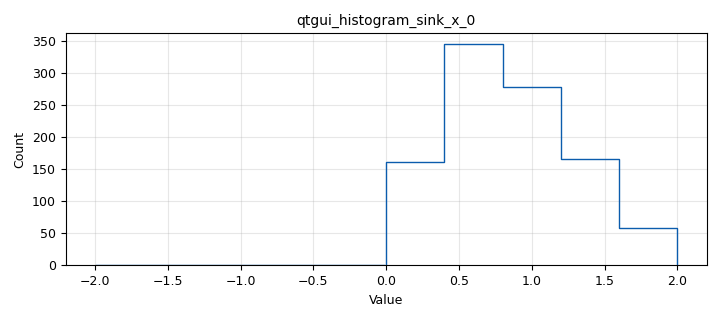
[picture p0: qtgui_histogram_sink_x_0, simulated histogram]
options:
  parameters:
    generate_options: qt_gui
    id: basic_histogram
    output_language: python
    title: Not titled yet
  states: {}

blocks:
- name: samp_rate
  id: variable
  parameters:
    value: '32000'
  states: {}
- name: analog_noise_source_x_0
  id: analog_noise_source_x
  parameters:
    amp: '1'
    noise_type: analog.GR_GAUSSIAN
    seed: '0'
    type: complex
  states: {}
- name: analog_sig_source_x_0
  id: analog_sig_source_x
  parameters:
    amp: '0'
    freq: '2000'
    offset: '0'
    phase: '0'
    samp_rate: samp_rate
    type: complex
    waveform: analog.GR_COS_WAVE
  states: {}
- name: blocks_add_xx_0
  id: blocks_add_xx
  parameters:
    type: complex
  states: {}
- name: blocks_complex_to_mag_0
  id: blocks_complex_to_mag
  parameters: {}
  states: {}
- name: blocks_throttle_0
  id: blocks_throttle
  parameters:
    samples_per_second: samp_rate
    type: complex
  states: {}
- name: qtgui_histogram_sink_x_0
  id: qtgui_histogram_sink_x
  parameters:
    bins: '10'
    size: '1024'
    type: float
    xmax: '2'
    xmin: '-2'
  states: {}
- name: qtgui_sink_x_0
  id: qtgui_sink_x
  parameters:
    bw: samp_rate
    fc: '0'
    fftsize: '1024'
    type: complex
  states: {state: disabled}

connections:
- [analog_noise_source_x_0, '0', blocks_add_xx_0, '0']
- [analog_sig_source_x_0, '0', blocks_add_xx_0, '1']
- [blocks_add_xx_0, '0', blocks_throttle_0, '0']
- [blocks_complex_to_mag_0, '0', qtgui_histogram_sink_x_0, '0']
- [blocks_throttle_0, '0', blocks_complex_to_mag_0, '0']
- [blocks_throttle_0, '0', qtgui_sink_x_0, '0']

metadata:
  file_format: 1
  grc_version: 3.10.4.0
